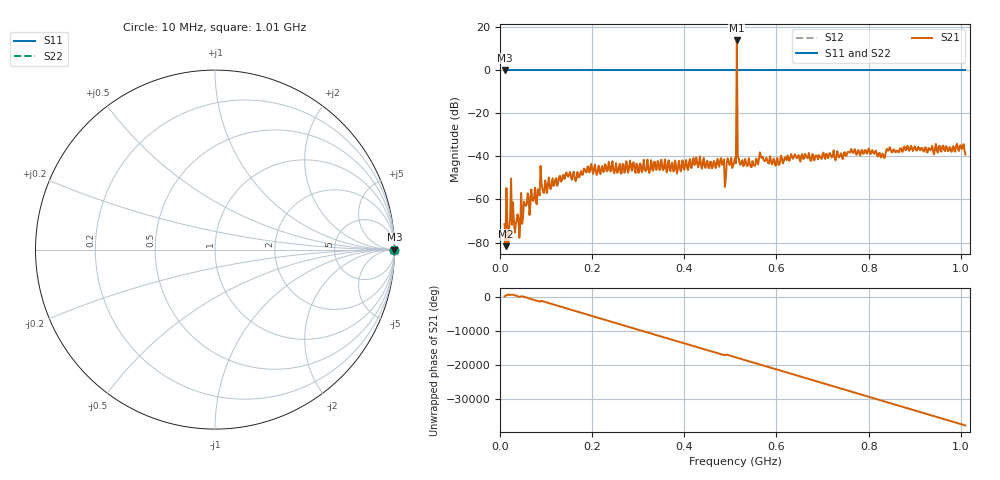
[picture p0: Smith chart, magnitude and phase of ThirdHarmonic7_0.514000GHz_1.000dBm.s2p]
! 8/17/2025 2:59:06 PM
! C:\ANRITSUVNA\TEMP\TEMP.S2P
! CHANNEL.1
! TR.MEASUREMENT
! RAW.DATA
! RF.CORRECTION.OFF
! AVERAGING.OFF
! IF.BANDWIDTH: 5KHZ
! SWEEPTYPE:  FREQ.SWEEP(Linear)
! Reference Plane Port Info
! PORT:  PORT1  PORT2
! DISTANCE:  0  m  0  m
! TIME:  0  s  0  s
! PHASE.OFFSET:  0  deg.  0  deg.
! LOSS:  0  dB  0  dB
! REF.LOSS:  0  dB  0  dB
! REF.FREQ:  0  Hz  0  Hz
! Power Info
! POWER:  -20  dBm  -20  dBm
! EFF.POWER:  -20  dBm  -20  dBm
! SOURCE.ATTEN:  0  dB  0  dB
! TEST.ATTEN:  0  dB  0  dB
# GHZ S RI R 50.0
! FREQ.GHZ  S11RE  S11IM  S21RE  S21IM  S12RE  S12IM  S22RE  S22IM
!; PortSelection: Port_12
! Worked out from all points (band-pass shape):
!   501 points, 10 MHz to 1.01 GHz, reference 50 ohm
!   highest |S21| = 13.62 dB at 514 MHz (marker M1); lowest = -81.7 dB at 12 MHz (marker M2)
!   |S21| within 3 dB of the highest: 513.8945 MHz to 514.111 MHz (216.5 kHz wide, 0.0421 % of centre)
!   lowest |S11| = 0.0 dB at 10 MHz (marker M3)
!   |S11| at or under -10 dB: nowhere
!   |S22| runs from 0.0 to 0.0 dB; largest |S21 - S12| = 3.9
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0.01  1 0  0.000185 0.000196  1 0  1 0
0.012  1 0  -6.92e-05 -4.47e-05  1 0  1 0
0.016  1 0  -3.7e-05 0.000229  1 0  1 0
0.026  1 0  -0.000206 -0.000154  1 0  1 0
0.03  1 0  -0.000211 0.000272  1 0  1 0
0.04  1 0  0.0003 -0.000213  1 0  1 0
0.056  1 0  -0.000166 0.000686  1 0  1 0
0.082  1 0  -0.00141 0.000969  1 0  1 0
0.086  1 0  0.00066 -0.00104  1 0  1 0
0.178  1 0  -0.00363 -0.000713  1 0  1 0
0.344  1 0  0.00694 -0.00212  1 0  1 0
0.482  1 0  -0.00439 -0.00464  1 0  1 0
0.486  1 0  0.000289 0.0084  1 0  1 0
0.508  1 0  0.00244 -0.00664  1 0  1 0
0.51  1 0  -0.00881 -0.00238  1 0  1 0
0.514  1 0  4.529 1.586  1 0  1 0
0.518  1 0  -0.00632 -0.00666  1 0  1 0
0.52  1 0  -0.00532 0.00431  1 0  1 0
0.678  1 0  0.0073 -0.00842  1 0  1 0
0.83  1 0  0.00922 -0.00684  1 0  1 0
0.844  1 0  -0.0084 0.0113  1 0  1 0
1.01  1 0  0.00305 -0.0105  1 0  1 0
